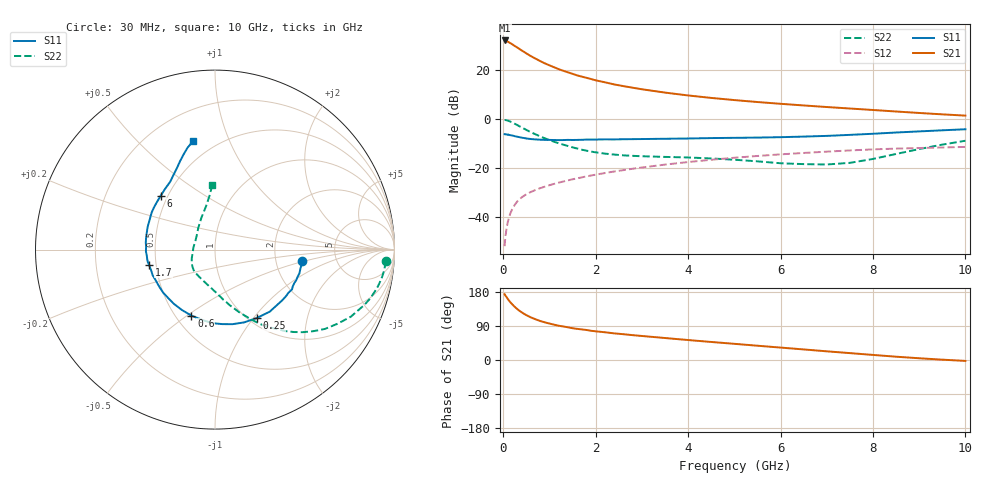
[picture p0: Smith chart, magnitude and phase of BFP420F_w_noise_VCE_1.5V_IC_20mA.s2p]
! Infineon Technologies  Discrete & RF Semiconductors
! BFP420F
! VCE =  1.5 V,  IC =  20 mA
! Common Emitter S-Parameters:  Sep 2011
# GHz  S  MA  R  50
!  f  S11  S21  S12  S22
! GHz  MAG  ANG  MAG  ANG  MAG  ANG  MAG  ANG
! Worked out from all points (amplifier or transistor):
!   54 points, 30 MHz to 10 GHz, reference 50 ohm
!   highest |S21| = 31.9 dB at 30 MHz (marker M1)
!   |S21| within 3 dB of that: start of sweep to 314.6 MHz
!   unconditionally stable (mu >= 1): 1.595 GHz to end of sweep
!   at 120 MHz: K = 0.26, MSG = 35.8 dB, |S12| = -40.4 dB
!   at 1.3 GHz: K = 0.92, MSG = 22.5 dB, |S12| = -25.4 dB
!   at 10 GHz: K = 1.23, MAG = 3.5 dB, |S12| = -11.4 dB
!   lowest NFmin = 1.53 dB at 450 MHz
!   S11 on the Smith chart (normalised r, x): 30 MHz: 2.84, -0.48; 250 MHz: 1.09, -1.04; 600 MHz: 0.60, -0.52; 1.7 GHz: 0.46, -0.09; 6 GHz: 0.46, +0.34; 10 GHz: 0.38, +0.75
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0.03  0.4908 -7.5  39.38 173.7  0.0026 87.9  0.9523 -3.9
0.05  0.4877 -12.1  38.72 169.5  0.0043 89.3  0.9497 -6.9
0.07  0.4846 -18.3  38.42 166.3  0.0058 83.8  0.9411 -10.0
0.12  0.4741 -30.6  36.44 157.4  0.0096 80.1  0.9095 -16.8
0.15  0.4686 -37.5  34.95 152.9  0.0118 77.3  0.8862 -20.5
0.2  0.461 -48.6  32.71 146.3  0.0151 74.2  0.844 -26.3
0.25  0.4466 -58.6  30.42 140.1  0.018 71.1  0.7977 -31.2
0.3  0.4368 -68.2  28.48 134.8  0.0209 68.7  0.7555 -35.8
0.4  0.417 -84.5  24.64 125.7  0.0255 65.2  0.6721 -43.2
0.5  0.4012 -98.0  21.51 118.5  0.0295 62.9  0.5994 -49.2
0.6  0.3908 -109.6  18.88 112.4  0.0329 61.3  0.5369 -54.2
0.8  0.3792 -127.3  15.02 102.9  0.0392 59.9  0.4425 -62.3
1  0.3754 -139.9  12.29 96.2  0.0451 59.6  0.3727 -69.0
1.3  0.3726 -154.1  9.528 88.4  0.0536 59.3  0.3002 -77.7
1.7  0.377 -167.2  7.245 80.7  0.065 59.0  0.2373 -89.1
2.4  0.3841 177.7  5.04 70.3  0.0856 57.6  0.1891 -108.1
3.5  0.396 161.4  3.435 58.0  0.1182 53.5  0.1694 -129.0
5.5  0.4185 140.5  2.209 37.7  0.177 41.9  0.1377 -159.9
6  0.4262 135.0  2.033 32.8  0.1908 38.7  0.1259 -171.5
7  0.4528 123.5  1.748 22.9  0.2166 31.9  0.1188 158.4
8.5  0.5303 111.5  1.418 8.7  0.2497 20.9  0.1945 112.7
10  0.6179 101.3  1.169 -2.4  0.2701 11.7  0.361 92.4
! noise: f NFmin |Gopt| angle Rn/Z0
0.45  1.53  0.18  -179  0.15
0.9  1.54  0.18  -179  0.17
1.9  1.66  0.26  -170  0.15
2.4  1.72  0.27  -165  0.11
3.5  1.96  0.29  -155  0.15
